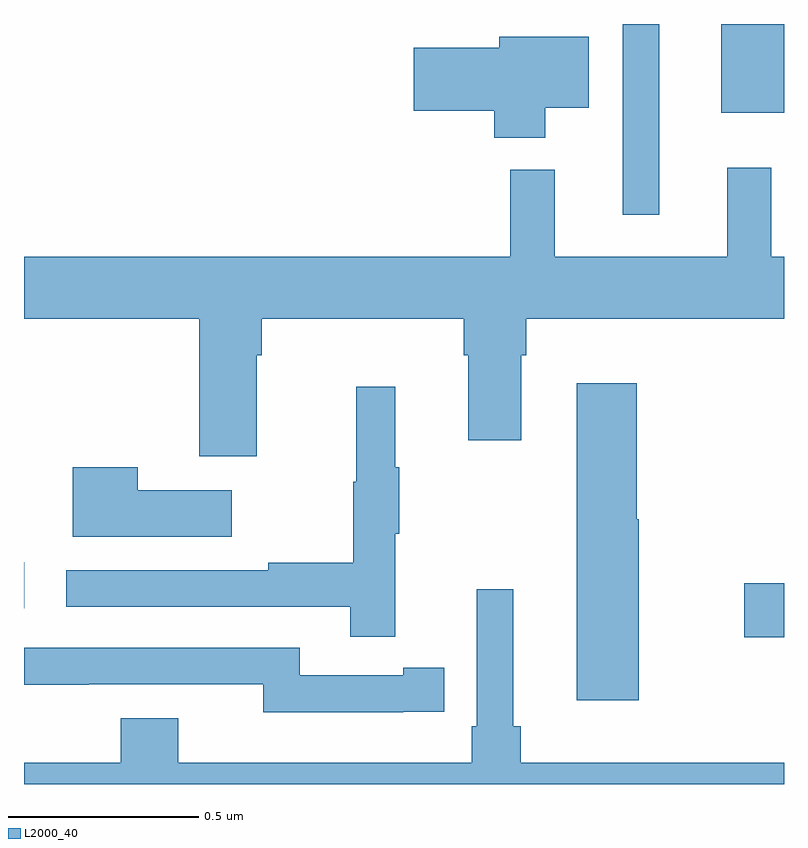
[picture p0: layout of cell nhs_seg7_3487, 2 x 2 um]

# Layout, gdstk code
import gdstk
lib = gdstk.Library(unit=1e-6, precision=1e-09)
def R(c, l, rs):  # rectangles x0, y0, x1, y1
    for r in rs: c.add(gdstk.rectangle(r[:2], r[2:], *l))
def P(c, l, *ps):  # polygons
    for p in ps: c.add(gdstk.Polygon(p, *l))
L2000_40 = (2000, 40)

nhs_seg7_3487 = lib.new_cell('nhs_seg7_3487')
R(nhs_seg7_3487, L2000_40, [(160.896,1058.386,161,1058.528), (159,1058.463,159.001,1058.583), (160.575,1059.498,160.672,1060), (160.835,1059.767,161,1060)])
P(nhs_seg7_3487, L2000_40, [(160.372,1059.779),(160.486,1059.779),(160.486,1059.967),(160.25,1059.967),(160.25,1059.937),(160.026,1059.937),(160.026,1059.772),(160.238,1059.772),(160.238,1059.701),(160.372,1059.701)],
  [(159.613,1059.128),(159.626,1059.128),(159.626,1059.224),(160.157,1059.224),(160.157,1059.128),(160.169,1059.128),(160.169,1058.904),(160.309,1058.904),(160.309,1059.128),(160.322,1059.128),(160.322,1059.224),(161,1059.224),(161,1059.388),(160.967,1059.388),(160.967,1059.622),(160.85,1059.622),(160.85,1059.388),(160.397,1059.388),(160.397,1059.616),(160.279,1059.616),(160.279,1059.388),(159,1059.388),(159,1059.224),(159.461,1059.224),(159.461,1058.862),(159.613,1058.862)],
  [(160.618,1058.697),(160.613,1058.697),(160.613,1059.055),(160.454,1059.055),(160.454,1058.22),(160.618,1058.22)],
  [(159.977,1058.659),(159.988,1058.659),(159.988,1058.833),(159.977,1058.833),(159.977,1059.046),(159.874,1059.046),(159.874,1058.796),(159.867,1058.796),(159.867,1058.582),(159.643,1058.582),(159.643,1058.562),(159.111,1058.562),(159.111,1058.466),(159.859,1058.466),(159.859,1058.388),(159.977,1058.388)],
  [(159.547,1058.773),(159.299,1058.773),(159.299,1058.833),(159.128,1058.833),(159.128,1058.651),(159.547,1058.651)],
  [(161,1058.056),(160.307,1058.056),(160.307,1058.152),(160.288,1058.152),(160.288,1058.512),(160.191,1058.512),(160.191,1058.152),(160.178,1058.152),(160.178,1058.056),(159.406,1058.056),(159.406,1058.173),(159.254,1058.173),(159.254,1058.056),(159,1058.056),(159,1058),(161,1058)],
  [(159.998,1058.19),(160.106,1058.19),(160.106,1058.306),(159.998,1058.306),(159.998,1058.286),(159.726,1058.286),(159.726,1058.358),(159,1058.358),(159,1058.261),(159.17,1058.261),(159.17,1058.262),(159.63,1058.262),(159.63,1058.189),(159.998,1058.189)])

lib.write_gds('nhs_seg7_3487.gds')
